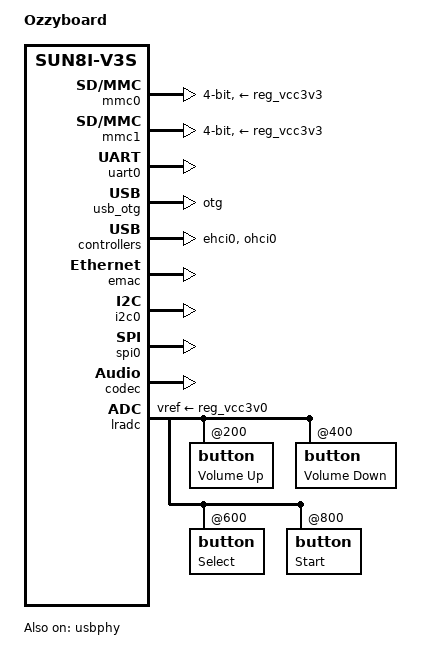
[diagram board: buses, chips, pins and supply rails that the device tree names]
/dts-v1/;
#include "sun8i-V3s-Ozzyboard_kernel.dtsi"
#include "sunxi-common-regulators.dtsi"
#include <dt-bindings/input/input.h>
/ {
	model = "Ozzyboard";
	compatible = "ozzyboard", "allwinner,sun8i-v3s";

	aliases {
		serial0 = &uart0;
		ethernet0 = &emac;
		
	};

	chosen {
		stdout-path = "serial0:115200n8";
		
		fb0: framebuffer@0 {
			compatible = "allwinner,simple-framebuffer", "simple-framebuffer";
			allwinner,pipeline = "de0-lcd0";
			clocks = <0x2 0x21 0x2 0x23 0x2 0x3f 0x2 0x40>;
			status = "disabled";
		};
	};			
};

&mmc0 {
	pinctrl-0 = <&mmc0_pins>;
	pinctrl-names = "default"; 
	broken-cd;
	bus-width = <4>;
	vmmc-supply = <&reg_vcc3v3>;
	status = "okay";
};

&mmc1 {
	pinctrl-0 = <&mmc1_pins>;
	pinctrl-names = "default";
	broken-cd;
	bus-width = <4>;
	vmmc-supply = <&reg_vcc3v3>;
	status = "okay";
};


&uart0 {
	pinctrl-0 = <&uart0_pb_pins>;
	pinctrl-names = "default";
	status = "okay";
};



&usb_otg {
	dr_mode = "otg";
	status = "okay";
};

&usbphy {
	/* pinctrl-0 = <&usb0_id_detect_pin>; */
	usb0_id_det-gpio = <&pio 5 6 GPIO_ACTIVE_HIGH>;
	status = "okay";
};

&ehci0 {
                         
    status = "okay";
};

&ohci0 {
                         
    status = "okay";
};
                 
&emac {
	allwinner,leds-active-high;
	status = "okay";
};

&i2c0 {
	pinctrl-0 = <&i2c0_pins>;
	pinctrl-names = "default";
	status = "okay";
};

/*
&i2c1 {
	pinctrl-0 = <&i2c1_pins>;
	pinctrl-names = "default";
	status = "okay";
};
*/



&spi0 {
	pinctrl-0 = <&spi0_pins>;
	pinctrl-names = "default";
	status = "okay";
	
};

&codec {
	allwinner,audio-routing = "Headphone", "HP", "Headphone", "HPCOM", "MIC1", "Mic", "Mic", "HBIAS";
	status = "okay";
};

&lradc {
	vref-supply = <&reg_vcc3v0>;
	status = "okay";

	button@200 {
		label = "Volume Up";
		linux,code = <KEY_VOLUMEUP>;
		channel = <0>;
		voltage = <200000>;
	};

	button@400 {
		label = "Volume Down";
		linux,code = <KEY_VOLUMEDOWN>;
		channel = <0>;
		voltage = <400000>;
	};

	button@600 {
		label = "Select";
		linux,code = <KEY_SELECT>;
		channel = <0>;
		voltage = <600000>;
	};

	button@800 {
		label = "Start";
		linux,code = <KEY_OK>;
		channel = <0>;
		voltage = <800000>;
	};
};


